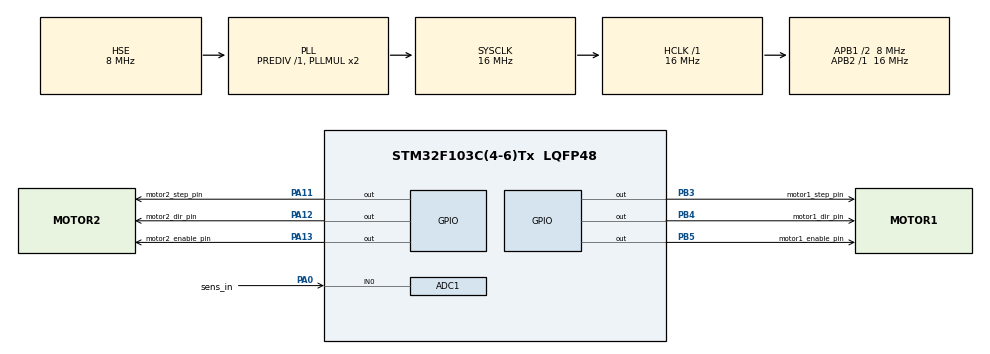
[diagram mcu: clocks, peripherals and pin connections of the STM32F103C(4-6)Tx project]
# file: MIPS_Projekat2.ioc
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ADC1.Channel-0\#ChannelRegularConversion=ADC_CHANNEL_0
ADC1.NbrOfConversionFlag=1
ADC1.Rank-0\#ChannelRegularConversion=1
ADC1.SamplingTime-0\#ChannelRegularConversion=ADC_SAMPLETIME_1CYCLE_5
ADC1.master=1
Mcu.Family=STM32F1
Mcu.Name=STM32F103C(4-6)Tx
Mcu.Package=LQFP48
NVIC.ADC1_2_IRQn=true\:0\:0\:false\:false\:true\:true\:true\:true
NVIC.PriorityGroup=NVIC_PRIORITYGROUP_4
NVIC.RCC_IRQn=true\:0\:0\:false\:false\:true\:true\:false\:true
NVIC.TIM2_IRQn=true\:0\:0\:false\:false\:true\:true\:true\:true
PA0-WKUP.GPIO_Label=sens_in
PA0-WKUP.Signal=ADCx_IN0
PA11.GPIO_Label=motor2_step_pin
PA11.Signal=GPIO_Output
PA12.GPIO_Label=motor2_dir_pin
PA12.Signal=GPIO_Output
PA13.GPIO_Label=motor2_enable_pin
PA13.Signal=GPIO_Output
PB3.GPIO_Label=motor1_step_pin
PB3.Signal=GPIO_Output
PB4.GPIO_Label=motor1_dir_pin
PB4.Signal=GPIO_Output
PB5.GPIO_Label=motor1_enable_pin
PB5.Signal=GPIO_Output
PC14-OSC32_IN.Mode=LSE-External-Oscillator
PC14-OSC32_IN.Signal=RCC_OSC32_IN
PC15-OSC32_OUT.Mode=LSE-External-Oscillator
PC15-OSC32_OUT.Signal=RCC_OSC32_OUT
PD0-OSC_IN.Mode=HSE-External-Oscillator
PD0-OSC_IN.Signal=RCC_OSC_IN
PD1-OSC_OUT.Mode=HSE-External-Oscillator
PD1-OSC_OUT.Signal=RCC_OSC_OUT
ProjectManager.HeapSize=0x200
ProjectManager.StackSize=0x400
ProjectManager.TargetToolchain=STM32CubeIDE
RCC.AHBFreq_Value=16000000
RCC.APB1CLKDivider=RCC_HCLK_DIV2
RCC.APB1Freq_Value=8000000
RCC.APB1TimFreq_Value=16000000
RCC.APB2Freq_Value=16000000
RCC.APB2TimFreq_Value=16000000
RCC.HCLKFreq_Value=16000000
RCC.PLLSourceVirtual=RCC_PLLSOURCE_HSE
RCC.SYSCLKFreq_VALUE=16000000
RCC.SYSCLKSource=RCC_SYSCLKSOURCE_PLLCLK
RCC.USBFreq_Value=16000000
SH.ADCx_IN0.0=ADC1_IN0,IN0
TIM2.Period=25994
TIM2.Prescaler=40000+1
VP_SYS_VS_ND.Mode=No_Debug
VP_TIM2_VS_ClockSourceINT.Mode=Internal
board=custom

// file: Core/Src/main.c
/* USER CODE BEGIN Header */
/**
  ******************************************************************************
  * @file           : main.c
  * @brief          : Main program body
  ******************************************************************************
  * @attention
  *
  * Copyright (c) 2023 STMicroelectronics.
  * All rights reserved.
  *
  * This software is licensed under terms that can be found in the LICENSE file
  * in the root directory of this software component.
  * If no LICENSE file comes with this software, it is provided AS-IS.
  *
  ******************************************************************************
  */
/* USER CODE END Header */
#include "main.h"
#include <math.h>
#include <stdlib.h>
#include <stdint.h>
#define DESIRED_TEMPERATURE_CONSTANT (sizeof(eprouvetes) / sizeof(eprouvetes[0]) * 5)

/* USER CODE BEGIN PTD */

volatile uint8_t motorFlag = 0;
volatile uint8_t adcConversionComplete = 0;
uint8_t eprouvetes[] = {1, 2, 2, 0, 1, 1, 2, 0, 0, 3};
uint8_t eprouvetes_size = sizeof(eprouvetes) / sizeof(eprouvetes[0]);
uint8_t desiredeprouvete = 2;
uint8_t counter = 0;

uint8_t curr = 0;

/* USER CODE END PTD */

ADC_HandleTypeDef hadc1;

TIM_HandleTypeDef htim2;

void SystemClock_Config(void);
static void MX_GPIO_Init(void);
static void MX_ADC1_Init(void);
static void MX_TIM2_Init(void);
/* USER CODE BEGIN PFP */

int calculatewhicheprouvete(int counter) {
    double num = ceil(fmod((counter * 1.8), 360.0) / 36.0);
    return (int)num;
}
void HAL_ADC_ConvCpltCallback(ADC_HandleTypeDef *hadc) {
    if (hadc->Instance == ADC1) {

        uint32_t adcValue = HAL_ADC_GetValue(&hadc1);

        float voltage = (adcValue / 4096.0) * 3.3;
        float temperature = (voltage - 0.5) * 100.0;

        if (temperature >= DESIRED_TEMPERATURE_CONSTANT) {

            motorFlag = 1;
        } else {

            motorFlag = 0;
        }

        adcConversionComplete = 1;
    }
}

void HAL_TIM_PeriodElapsedCallback(TIM_HandleTypeDef *htim) {
    if (htim->Instance == TIM1) {

        HAL_ADC_Start_IT(&hadc1);
    }
}

void moveMotor1(int direction, int numofsteps) {

	switch (direction){
		case 0:
			HAL_GPIO_WritePin(GPIOB,motor1_enable_pin_Pin,GPIO_PIN_RESET);
		case 1:
			HAL_GPIO_WritePin(GPIOB,motor1_enable_pin_Pin,GPIO_PIN_SET);
			HAL_GPIO_WritePin(GPIOB,motor1_dir_pin_Pin,GPIO_PIN_SET);
		case -1:
			HAL_GPIO_WritePin(GPIOB,motor1_enable_pin_Pin,GPIO_PIN_SET);
			HAL_GPIO_WritePin(GPIOB,motor1_dir_pin_Pin,GPIO_PIN_RESET);
	}

	for (int i = 0; i<numofsteps; i++){
	HAL_GPIO_WritePin(GPIOB,motor1_step_pin_Pin,GPIO_PIN_SET);
	HAL_Delay(20);
	HAL_GPIO_WritePin(GPIOB,motor1_step_pin_Pin,GPIO_PIN_RESET);
	HAL_Delay(20);
	}
}

void moveMotor2(int numofsteps) {

	for (int i = 0; i<numofsteps; i++){
		HAL_GPIO_WritePin(GPIOA,motor2_step_pin_Pin,GPIO_PIN_SET);
		HAL_Delay(20);
		HAL_GPIO_WritePin(GPIOA,motor2_step_pin_Pin,GPIO_PIN_RESET);
		HAL_Delay(20);
		}
}

int findNearestEprouvete(uint8_t *eprouvetes, int n, int current, int desiredeprouvete) {
    int nearest = -1;
    int minDistance = n;

    for (int i = 0; i < n; i++) {
        if (eprouvetes[i] == desiredeprouvete) {
            int distance = abs(current - i);
            distance = (distance < n - distance) ? distance : n - distance;
            if (distance < minDistance) {
                minDistance = distance;
                nearest = i;
            }
        }
    }

    return nearest;
}

int determineDirection(uint8_t *eprouvetes, int n, int current, int desiredeprouvete) {
	int nearesteprouvete = findNearestEprouvete(eprouvetes, n, current, desiredeprouvete);

    if (nearesteprouvete == -1) {
        return 0;
    } else if (nearesteprouvete > current) {

        return 1;
    } else if (nearesteprouvete < current) {

        return -1;
    } else {

        return 0;
    }
}
/* USER CODE END PFP */

int main(void)
{

  /* MCU Configuration--------------------------------------------------------*/

  /* Reset of all peripherals, Initializes the Flash interface and the Systick. */
  HAL_Init();

  HAL_TIM_Base_Start_IT(&htim2);

  /* Configure the system clock */
  SystemClock_Config();

  /* Initialize all configured peripherals */
  MX_GPIO_Init();
  MX_ADC1_Init();
  MX_TIM2_Init();

  /* Infinite loop */
  /* USER CODE BEGIN WHILE */
  while (1)
  {

	  if (motorFlag == 0) {
		  while(motorFlag != 1){
			  HAL_GPIO_WritePin(GPIOB,motor1_step_pin_Pin,GPIO_PIN_SET);
		      	 HAL_Delay(20);
		      	 HAL_GPIO_WritePin(GPIOB,motor1_step_pin_Pin,GPIO_PIN_RESET);
		      	 HAL_Delay(20);
		      	 counter++;

		       }

  } else {

	  moveMotor1(0,0);
      if (adcConversionComplete == 1) {

    	  curr = calculatewhicheprouvete(counter);

    	  int distance = findNearestEprouvete(eprouvetes, eprouvetes_size, curr, desiredeprouvete);
    	  int direction = determineDirection(eprouvetes, eprouvetes_size, curr, desiredeprouvete);

    	  moveMotor1(direction,20*distance);
    	  switch(direction){
    	  case 0:
    		  curr = curr;
    	  case 1:
    		  curr = curr + distance;
    	  case -1:
    		  curr = curr - distance;
    	  }
          HAL_Delay(1000);
          moveMotor2(200);

          adcConversionComplete = 0;
      }
  }
}
    /* USER CODE END WHILE */

}

void SystemClock_Config(void)
{
  RCC_OscInitTypeDef RCC_OscInitStruct = {0};
  RCC_ClkInitTypeDef RCC_ClkInitStruct = {0};
  RCC_PeriphCLKInitTypeDef PeriphClkInit = {0};

  /** Initializes the RCC Oscillators according to the specified parameters
  * in the RCC_OscInitTypeDef structure.
  */
  RCC_OscInitStruct.OscillatorType = RCC_OSCILLATORTYPE_HSE;
  RCC_OscInitStruct.HSEState = RCC_HSE_ON;
  RCC_OscInitStruct.HSEPredivValue = RCC_HSE_PREDIV_DIV1;
  RCC_OscInitStruct.HSIState = RCC_HSI_ON;
  RCC_OscInitStruct.PLL.PLLState = RCC_PLL_ON;
  RCC_OscInitStruct.PLL.PLLSource = RCC_PLLSOURCE_HSE;
  RCC_OscInitStruct.PLL.PLLMUL = RCC_PLL_MUL2;
  if (HAL_RCC_OscConfig(&RCC_OscInitStruct) != HAL_OK)
  {
    Error_Handler();
  }

  /** Initializes the CPU, AHB and APB buses clocks
  */
  RCC_ClkInitStruct.ClockType = RCC_CLOCKTYPE_HCLK|RCC_CLOCKTYPE_SYSCLK
                              |RCC_CLOCKTYPE_PCLK1|RCC_CLOCKTYPE_PCLK2;
  RCC_ClkInitStruct.SYSCLKSource = RCC_SYSCLKSOURCE_PLLCLK;
  RCC_ClkInitStruct.AHBCLKDivider = RCC_SYSCLK_DIV1;
  RCC_ClkInitStruct.APB1CLKDivider = RCC_HCLK_DIV2;
  RCC_ClkInitStruct.APB2CLKDivider = RCC_HCLK_DIV1;

  if (HAL_RCC_ClockConfig(&RCC_ClkInitStruct, FLASH_LATENCY_0) != HAL_OK)
  {
    Error_Handler();
  }
  PeriphClkInit.PeriphClockSelection = RCC_PERIPHCLK_ADC;
  PeriphClkInit.AdcClockSelection = RCC_ADCPCLK2_DIV2;
  if (HAL_RCCEx_PeriphCLKConfig(&PeriphClkInit) != HAL_OK)
  {
    Error_Handler();
  }
}

static void MX_ADC1_Init(void)
{

  ADC_ChannelConfTypeDef sConfig = {0};

  /** Common config
  */
  hadc1.Instance = ADC1;
  hadc1.Init.ScanConvMode = ADC_SCAN_DISABLE;
  hadc1.Init.ContinuousConvMode = DISABLE;
  hadc1.Init.DiscontinuousConvMode = DISABLE;
  hadc1.Init.ExternalTrigConv = ADC_SOFTWARE_START;
  hadc1.Init.DataAlign = ADC_DATAALIGN_RIGHT;
  hadc1.Init.NbrOfConversion = 1;
  if (HAL_ADC_Init(&hadc1) != HAL_OK)
  {
    Error_Handler();
  }

  /** Configure Regular Channel
  */
  sConfig.Channel = ADC_CHANNEL_0;
  sConfig.Rank = ADC_REGULAR_RANK_1;
  sConfig.SamplingTime = ADC_SAMPLETIME_1CYCLE_5;
  if (HAL_ADC_ConfigChannel(&hadc1, &sConfig) != HAL_OK)
  {
    Error_Handler();
  }

}

static void MX_TIM2_Init(void)
{

  TIM_ClockConfigTypeDef sClockSourceConfig = {0};
  TIM_MasterConfigTypeDef sMasterConfig = {0};

  htim2.Instance = TIM2;
  htim2.Init.Prescaler = 40000+1;
  htim2.Init.CounterMode = TIM_COUNTERMODE_UP;
  htim2.Init.Period = 25994;
  htim2.Init.ClockDivision = TIM_CLOCKDIVISION_DIV1;
  htim2.Init.AutoReloadPreload = TIM_AUTORELOAD_PRELOAD_DISABLE;
  if (HAL_TIM_Base_Init(&htim2) != HAL_OK)
  {
    Error_Handler();
  }
  sClockSourceConfig.ClockSource = TIM_CLOCKSOURCE_INTERNAL;
  if (HAL_TIM_ConfigClockSource(&htim2, &sClockSourceConfig) != HAL_OK)
  {
    Error_Handler();
  }
  sMasterConfig.MasterOutputTrigger = TIM_TRGO_RESET;
  sMasterConfig.MasterSlaveMode = TIM_MASTERSLAVEMODE_DISABLE;
  if (HAL_TIMEx_MasterConfigSynchronization(&htim2, &sMasterConfig) != HAL_OK)
  {
    Error_Handler();
  }

}

static void MX_GPIO_Init(void)
{
  GPIO_InitTypeDef GPIO_InitStruct = {0};

  /* GPIO Ports Clock Enable */
  __HAL_RCC_GPIOC_CLK_ENABLE();
  __HAL_RCC_GPIOD_CLK_ENABLE();
  __HAL_RCC_GPIOA_CLK_ENABLE();
  __HAL_RCC_GPIOB_CLK_ENABLE();

  /*Configure GPIO pin Output Level */
  HAL_GPIO_WritePin(GPIOA, motor2_step_pin_Pin|motor2_dir_pin_Pin|motor2_enable_pin_Pin, GPIO_PIN_RESET);

  /*Configure GPIO pin Output Level */
  HAL_GPIO_WritePin(GPIOB, motor1_step_pin_Pin|motor1_dir_pin_Pin|motor1_enable_pin_Pin, GPIO_PIN_RESET);

  /*Configure GPIO pins : motor2_step_pin_Pin motor2_dir_pin_Pin motor2_enable_pin_Pin */
  GPIO_InitStruct.Pin = motor2_step_pin_Pin|motor2_dir_pin_Pin|motor2_enable_pin_Pin;
  GPIO_InitStruct.Mode = GPIO_MODE_OUTPUT_PP;
  GPIO_InitStruct.Pull = GPIO_NOPULL;
  GPIO_InitStruct.Speed = GPIO_SPEED_FREQ_LOW;
  HAL_GPIO_Init(GPIOA, &GPIO_InitStruct);

  /*Configure GPIO pins : motor1_step_pin_Pin motor1_dir_pin_Pin motor1_enable_pin_Pin */
  GPIO_InitStruct.Pin = motor1_step_pin_Pin|motor1_dir_pin_Pin|motor1_enable_pin_Pin;
  GPIO_InitStruct.Mode = GPIO_MODE_OUTPUT_PP;
  GPIO_InitStruct.Pull = GPIO_NOPULL;
  GPIO_InitStruct.Speed = GPIO_SPEED_FREQ_LOW;
  HAL_GPIO_Init(GPIOB, &GPIO_InitStruct);

}

void Error_Handler(void)
{
  __disable_irq();
  while (1)
  {
  }
}
